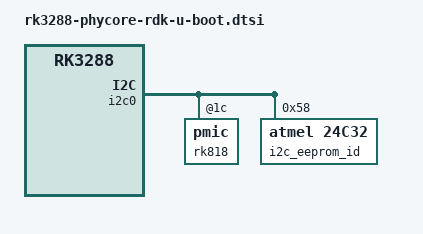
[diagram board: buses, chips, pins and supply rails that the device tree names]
// SPDX-License-Identifier: GPL-2.0+

#include "rk3288-u-boot.dtsi"

/ {
	aliases {
		eeprom0 = &i2c_eeprom_id;
	};

	chosen {
		stdout-path = &uart2;
	};
};

&dmc {
	rockchip,num-channels = <2>;
	rockchip,pctl-timing = <0x29a 0xc8 0x1f8 0x42 0x4e 0x4 0xea 0xa
		0x5 0x0 0xa 0x7 0x19 0x24 0xa 0x7
		0x5 0xa 0x5 0x200 0x5 0x10 0x40 0x0
		0x1 0x7 0x7 0x4 0xc 0x43 0x100 0x0
		0x5 0x0>;
	rockchip,phy-timing = <0x48f9aab4 0xea0910 0x1002c200
		0xa60 0x40 0x10 0x0>;
	rockchip,sdram-channel = /bits/ 8 <0x1 0xa 0x3 0x2 0x1 0x0 0xe 0xe>;
	rockchip,sdram-params = <0x30B25564 0x627 3 666000000 3 5 1>;
};

&emmc {
	bootph-all;
};

&i2c0 {
	bootph-all;

	rk818: pmic@1c {
		bootph-all;

		regulators {
			bootph-all;
		};
	};

	/* M24C32-D Identification page */
	i2c_eeprom_id: eeprom@58 {
		bootph-all;

		compatible = "atmel,24c32";
		reg = <0x58>;
		pagesize = <32>;
	};
};

&pinctrl {
	bootph-all;
};

&sdmmc {
	bootph-all;
};

&uart2 {
	bootph-all;
};
